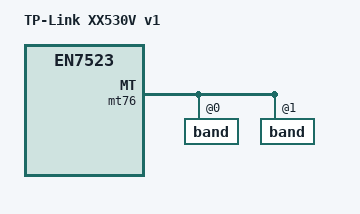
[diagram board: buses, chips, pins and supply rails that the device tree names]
// SPDX-License-Identifier: GPL-2.0-or-later OR MIT
#include "en7523-tplink_xx230v_v1.dts"

/ {
	model = "TP-Link XX530V v1";
	compatible = "tplink,xx530v-v1", "airoha,en7523";
};

/* xx530v v1
	0x000000000000-0x000004a00000 : "whole"
	0x000000000000-0x000000080000 : "boot"
	0x000000080000-0x0000000a0000 : "romfile"
	0x0000000a0000-0x0000002a0000 : "misc"
	0x0000002a0000-0x000002500000 : "firmware"
	0x000002500000-0x000004760000 : "firmware_slave"
	0x0000049e0000-0x000004a00000 : "reserve"
*/
&nand {
	partitions {
		compatible = "fixed-partitions";
		#address-cells = <1>;
		#size-cells = <1>;

    partition@0 {
      label = "uboot-atf";
      reg = <0x00000000 0x00080000>;
      read-only;
    };

		partition@1 {
			label = "romfile";
			reg = <0x80000 0xa0000>;
			read-only;
		};

		partition@2 {
			label = "misc";
			reg = <0x0a0000 0x200000>;
			read-only;

			nvmem-layout {
				compatible = "fixed-layout";
				#address-cells = <1>;
				#size-cells = <1>;

				macaddr: macaddr@4f100 {
					#nvmem-cell-cells = <1>;
					compatible = "mac-base";
					reg = <0x4f100 0x6>;
				};

				eeprom0: eeprom@80000 {
					reg = <0x80000 0x1000>;
				};

				en7571_bob: en7571_bob@c0000 {
					reg = <0xc0000 0xff>;
				};
			};
		};

		// Fist 512 have header of kernel
		// flash write 0x02a0000 0x$filesize $loadaddr
		partition@3 {
			label = "firmware";
			reg = <0x02a0000 0x7360000>;
		};

		partition@4 {
			label = "kernel";
			reg = <0x02a0000 0x1000000>;
		};

		partition@5 {
			label = "rootfs";
			reg = <0x12a0000 0x6360000>;
		};

		/* reserved for bad block table */
		partition@6 {
			label = "reserved_bmt";
			reg = <0x7600000 0x0b00000>;
			read-only;
		};
	};
};

&xpon_phy {
	nvmem-cells = <&en7571_bob>;
	nvmem-cell-names = "phy-bob";
};

&xpon {
	nvmem-cells = <&macaddr 0>;
	nvmem-cell-names = "mac-address";
	pon,sn = "TPLG";
};

&mt76 {
	nvmem-cells = <&eeprom0>;
	nvmem-cell-names = "eeprom";

	// 2.4 GHz
	band@0 {
		nvmem-cells = <&macaddr 0>;
		nvmem-cell-names = "mac-address";
	};

	// 5 GHz
	band@1 {
		nvmem-cells = <&macaddr 2>;
		nvmem-cell-names = "mac-address";
	};
};

&gdm1 {
	nvmem-cells = <&macaddr 0>;
	nvmem-cell-names = "mac-address";
};

&switch {
	ports {
		port@6 {
			nvmem-cells = <&macaddr 0>;
			nvmem-cell-names = "mac-address";
		};
	};
};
